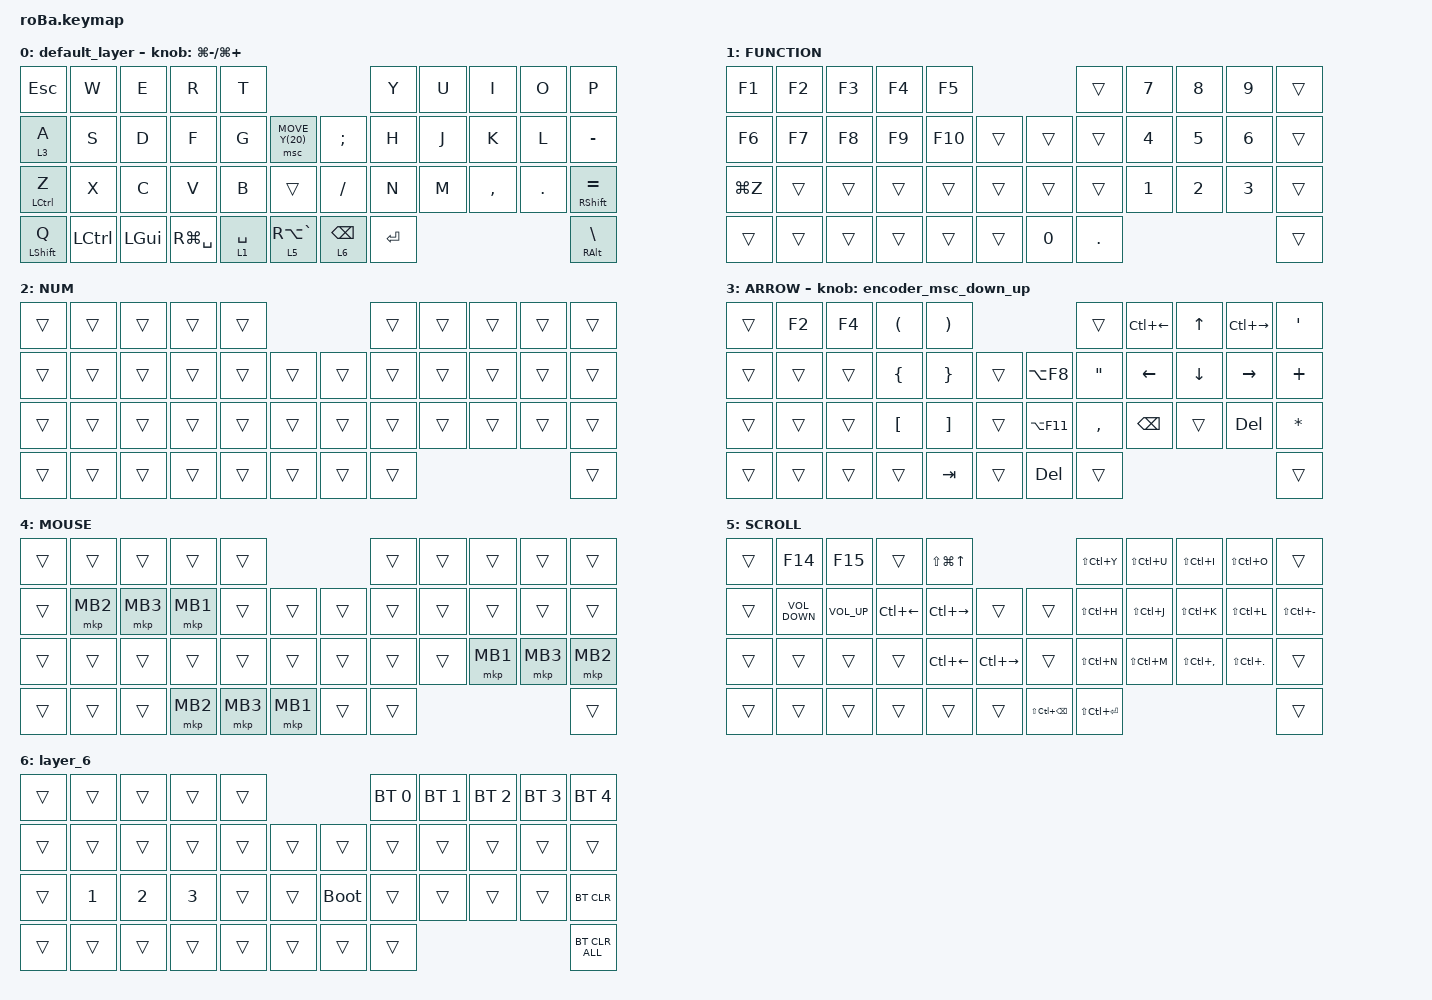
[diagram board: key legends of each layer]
#include <input/processors.dtsi>
#include <dt-bindings/zmk/input_transform.h>
#include <zephyr/dt-bindings/input/input-event-codes.h>
#include <behaviors.dtsi>
#include <dt-bindings/zmk/bt.h>
#include <dt-bindings/zmk/keys.h>
#include <dt-bindings/zmk/pointing.h>

#define ZMK_POINTING_DEFAULT_SCRL_VAL 80

/ {
    input_processors {
        zip_scroll_x_scaler: zip_scroll_x_scaler {
            compatible = "zmk,input-processor-scaler";
            #input-processor-cells = <2>;
            type = <INPUT_EV_REL>;
            codes = <INPUT_REL_HWHEEL>;
            track-remainders;
        };

        zip_scroll_y_scaler: zip_scroll_y_scaler {
            compatible = "zmk,input-processor-scaler";
            #input-processor-cells = <2>;
            type = <INPUT_EV_REL>;
            codes = <INPUT_REL_HWHEEL>;
            track-remainders;
        };
    };
};

&trackball_listener {
    input-processors = <
        &zip_xy_scaler 2 2
    >;

    scroller {
        layers = <3>;
        input-processors = <
            &zip_xy_to_scroll_mapper
            &zip_scroll_scaler 1 60
            &zip_scroll_transform INPUT_TRANSFORM_Y_INVERT
            &zip_scroll_x_scaler 0 1
        >;
    };
};

&mt {
    flavor = "balanced";
    quick-tap-ms = <0>;
};

&trackball {
    automouse-layer = <4>;
    scroll-layers = <5>;

    // arrows {
    //     layers = <3>;
    //     bindings =
    //         <&kp RIGHT_ARROW>,
    //         <&kp LEFT_ARROW>,
    //         <&kp UP_ARROW>,
    //         <&kp DOWN_ARROW>;
    //     tick = <10>;
    //     wait-ms = <5>;
    //     tap-ms = <5>;
    // };
};

/ {
    combos {
        compatible = "zmk,combos";

        tab {
            bindings = <&kp TAB>;
            key-positions = <11 12>;
        };

        shift_tab {
            bindings = <&kp LS(TAB)>;
            key-positions = <12 13>;
        };

        muhennkann {
            bindings = <&to_layer_0 INT_MUHENKAN>;
            key-positions = <11 10>;
        };

        double_quotation {
            bindings = <&kp DOUBLE_QUOTES>;
            key-positions = <20 21>;
        };

        eq {
            bindings = <&kp EQUAL>;
            key-positions = <24 25>;
        };
    };

    macros {
        to_layer_0: to_layer_0 {
            compatible = "zmk,behavior-macro-one-param";
            #binding-cells = <1>;
            bindings = <&to 0 &macro_param_1to1 &kp MACRO_PLACEHOLDER>;
            label = "TO_LAYER_0";
        };
    };

    behaviors {
        lt_to_layer_0: lt_to_layer_0 {
            compatible = "zmk,behavior-hold-tap";
            label = "LAYER_TAP_TO_0";
            bindings = <&mo>, <&to_layer_0>;

            #binding-cells = <2>;
            tapping-term-ms = <200>;
        };
    };

    // ロータリーエンコーダー用にbehavorsを追加
    // スクロール方向を逆にしたい場合は <&msc SCRL_DOWN> と <&msc SCRL_UP> を入れ替えてください

    behaviors {
        encoder_msc_down_up: encoder_msc_down_up {
            compatible = "zmk,behavior-sensor-rotate";
            label = "ENCODER_MSC_DOWN_UP";
            #sensor-binding-cells = <0>;
            bindings = <&msc SCRL_DOWN>, <&msc SCRL_UP>;

            tap-ms = <20>;
        };
    };

    keymap {
        compatible = "zmk,keymap";

        default_layer {
            bindings = <
&kp ESCAPE          &kp W             &kp E         &kp R          &kp T                                              &kp Y      &kp U  &kp I      &kp O    &kp P
&lt 3 A             &kp S             &kp D         &kp F          &kp G        &msc MOVE_Y(20)      &kp SEMI         &kp H      &kp J  &kp K      &kp L    &kp MINUS
&mt LEFT_CONTROL Z  &kp X             &kp C         &kp V          &kp B        &trans               &kp SLASH        &kp N      &kp M  &kp COMMA  &kp DOT  &mt RIGHT_SHIFT EQUAL
&mt LEFT_SHIFT Q    &kp LEFT_CONTROL  &kp LEFT_GUI  &kp RG(SPACE)  &lt 1 SPACE  &lt 5 RA(GRAVE)      &lt 6 BACKSPACE  &kp ENTER                             &mt RIGHT_ALT BSLH
            >;

            sensor-bindings = <&inc_dec_kp LG(MINUS) LG(PLUS)>;
        };

        FUNCTION {
            bindings = <
&kp F1     &kp F2  &kp F3  &kp F4  &kp F5                             &trans   &kp NUMBER_7  &kp NUMBER_8  &kp NUMBER_9  &trans
&kp F6     &kp F7  &kp F8  &kp F9  &kp F10  &trans      &trans        &trans   &kp NUMBER_4  &kp NUMBER_5  &kp NUMBER_6  &trans
&kp LG(Z)  &trans  &trans  &trans  &trans   &trans      &trans        &trans   &kp NUMBER_1  &kp NUMBER_2  &kp NUMBER_3  &trans
&trans     &trans  &trans  &trans  &trans   &trans      &kp NUMBER_0  &kp DOT                                            &trans
            >;
        };

        NUM {
            bindings = <
&trans  &trans  &trans  &trans  &trans                      &trans  &trans  &trans  &trans  &trans
&trans  &trans  &trans  &trans  &trans  &trans      &trans  &trans  &trans  &trans  &trans  &trans
&trans  &trans  &trans  &trans  &trans  &trans      &trans  &trans  &trans  &trans  &trans  &trans
&trans  &trans  &trans  &trans  &trans  &trans      &trans  &trans                          &trans
            >;
        };

        ARROW {
            bindings = <
&trans  &kp F2  &kp F4  &kp LEFT_PARENTHESIS  &kp RIGHT_PARENTHESIS                           &trans             &kp LC(LEFT_ARROW)  &kp UP_ARROW    &kp LC(RIGHT_ARROW)  &kp SINGLE_QUOTE
&trans  &trans  &trans  &kp LEFT_BRACE        &kp RIGHT_BRACE        &trans      &kp LA(F8)   &kp DOUBLE_QUOTES  &kp LEFT_ARROW      &kp DOWN_ARROW  &kp RIGHT_ARROW      &kp PLUS
&trans  &trans  &trans  &kp LEFT_BRACKET      &kp RIGHT_BRACKET      &trans      &kp LA(F11)  &kp COMMA          &kp BACKSPACE       &trans          &kp DELETE           &kp ASTERISK
&trans  &trans  &trans  &trans                &kp TAB                &trans      &kp DELETE   &trans                                                                      &trans
            >;

            sensor-bindings = <&encoder_msc_down_up>;
        };

        MOUSE {
            bindings = <
&trans  &trans    &trans    &trans    &trans                          &trans  &trans  &trans    &trans    &trans
&trans  &mkp MB2  &mkp MB3  &mkp MB1  &trans    &trans        &trans  &trans  &trans  &trans    &trans    &trans
&trans  &trans    &trans    &trans    &trans    &trans        &trans  &trans  &trans  &mkp MB1  &mkp MB3  &mkp MB2
&trans  &trans    &trans    &mkp MB2  &mkp MB3  &mkp MB1      &trans  &trans                              &trans
            >;
        };

        SCROLL {
            bindings = <
&trans  &kp F14            &kp F15          &trans              &kp LS(LG(UP_ARROW))                                                  &kp LS(LC(Y))      &kp LS(LC(U))  &kp LS(LC(I))      &kp LS(LC(O))       &trans
&trans  &kp C_VOLUME_DOWN  &kp C_VOLUME_UP  &kp LC(LEFT_ARROW)  &kp LC(RIGHT_ARROW)   &trans                   &trans                 &kp LS(LC(H))      &kp LS(LC(J))  &kp LS(LC(K))      &kp LS(LC(L))       &kp LS(LC(MINUS))
&trans  &trans             &trans           &trans              &kp LC(LEFT_ARROW)    &kp LC(RIGHT_ARROW)      &trans                 &kp LS(LC(N))      &kp LS(LC(M))  &kp LS(LC(COMMA))  &kp LS(LC(PERIOD))  &trans
&trans  &trans             &trans           &trans              &trans                &trans                   &kp LS(LC(BACKSPACE))  &kp LS(LC(ENTER))                                                        &trans
            >;
        };

        layer_6 {
            bindings = <
&trans  &trans        &trans        &trans        &trans                           &bt BT_SEL 0  &bt BT_SEL 1  &bt BT_SEL 2  &bt BT_SEL 3  &bt BT_SEL 4
&trans  &trans        &trans        &trans        &trans  &trans      &trans       &trans        &trans        &trans        &trans        &trans
&trans  &kp NUMBER_1  &kp NUMBER_2  &kp NUMBER_3  &trans  &trans      &bootloader  &trans        &trans        &trans        &trans        &bt BT_CLR
&trans  &trans        &trans        &trans        &trans  &trans      &trans       &trans                                                  &bt BT_CLR_ALL
            >;
        };
    };
};
